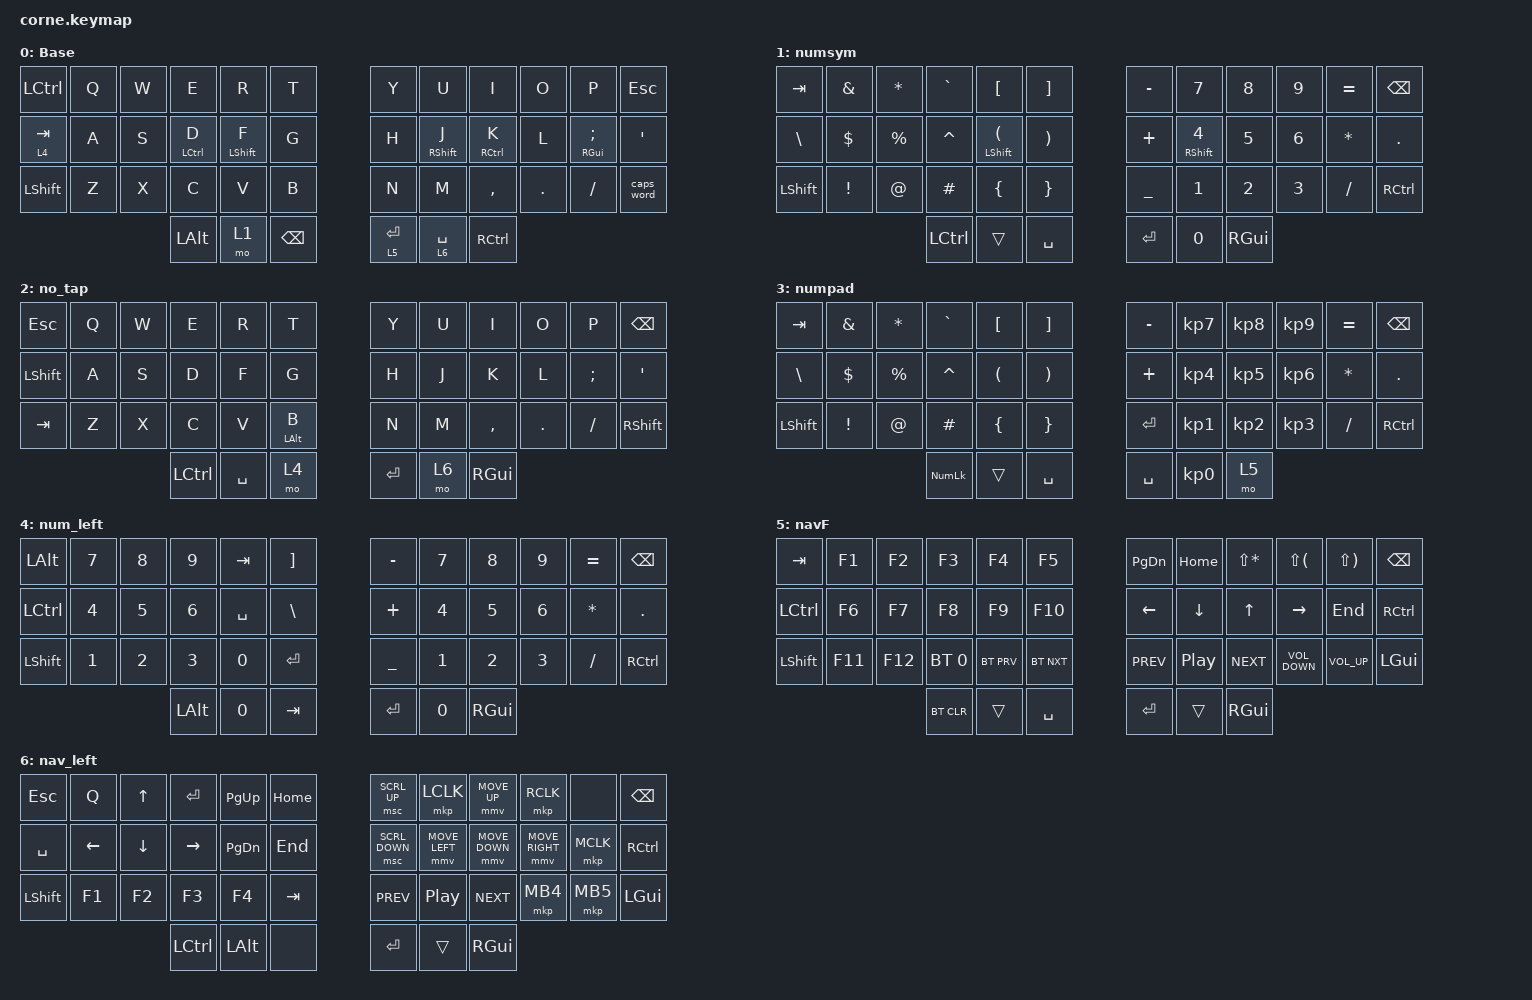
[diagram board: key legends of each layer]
/*
 * Copyright (c) 2020 The ZMK Contributors
 *
 * SPDX-License-Identifier: MIT
 */

#define ZMK_POINTING_DEFAULT_MOVE_VAL 1000

#include <behaviors.dtsi>
#include <dt-bindings/zmk/bt.h>
#include <dt-bindings/zmk/keys.h>
#include <dt-bindings/zmk/pointing.h>
#include <dt-bindings/zmk/pointing.h>
#include <dt-bindings/zmk/pointing.h>

&mt { flavor = "tap-preferred"; };

/ {
    combos {
        compatible = "zmk,combos";

        to_no_tap {
            bindings = <&to 2>;
            key-positions = <36 37 38>;
            layers = <0>;
        };

        back_to_base {
            bindings = <&to 0>;
            key-positions = <36 37 38>;
            layers = <2>;
        };

        delete {
            bindings = <&kp DEL>;
            key-positions = <10 11>;
        };

        copy {
            bindings = <&kp LC(C)>;
            key-positions = <27 28>;
        };

        paste {
            bindings = <&kp LC(V)>;
            key-positions = <28 29>;
        };

        cut {
            bindings = <&kp LC(X)>;
            key-positions = <26 27>;
        };

        capsword {
            bindings = <&caps_word>;
            key-positions = <16 19>;
        };

        to_numpad {
            bindings = <&to 3>;
            key-positions = <39 40 41>;
            layers = <0>;
        };

        np_to_base {
            bindings = <&to 0>;
            key-positions = <39 40 41>;
            layers = <3>;
        };

        jk_esc {
            bindings = <&kp ESC>;
            key-positions = <19 20>;
        };

        left_escape {
            bindings = <&kp ESC>;
            key-positions = <0 1>;
        };

        tab_nav {
            bindings = <&kp LC(TAB)>;
            key-positions = <4 5>;
        };
    };

    keymap {
        compatible = "zmk,keymap";

        default_layer {
            // -----------------------------------------------------------------------------------------
            // |  TAB |  Q  |  W  |  E  |  R  |  T  |   |  Y  |  U   |  I  |  O  |  P  | BKSP |
            // | CTRL |  A  |  S  |  D  |  F  |  G  |   |  H  |  J   |  K  |  L  |  ;  |  '   |
            // | SHFT |  Z  |  X  |  C  |  V  |  B  |   |  N  |  M   |  ,  |  .  |  /  | ESC  |
            //                    | GUI | LWR | SPC |   | ENT | RSE  | ALT |

            display-name = "Base";
            bindings = <
&kp LCTRL       &kp Q  &kp W  &kp E        &kp R         &kp T            &kp Y        &kp U         &kp I        &kp O    &kp P          &kp ESC
&lt 4 TAB       &kp A  &kp S  &mt LCTRL D  &mt LSHIFT F  &kp G            &kp H        &mt RSHIFT J  &mt RCTRL K  &kp L    &mt RGUI SEMI  &kp SQT
&kp LEFT_SHIFT  &kp Z  &kp X  &kp C        &kp V         &kp B            &kp N        &kp M         &kp COMMA    &kp DOT  &kp FSLH       &caps_word
                              &kp LALT     &mo 1         &kp BACKSPACE    &lt 5 ENTER  &lt 6 SPACE   &kp RCTRL
            >;
        };

        numsym {
            // -----------------------------------------------------------------------------------------
            // |  TAB |  1  |  2  |  3  |  4  |  5  |   |  6  |  7  |  8  |  9  |  0  | BKSP |
            // | BTCLR| BT1 | BT2 | BT3 | BT4 | BT5 |   | LFT | DWN |  UP | RGT |     |      |
            // | SHFT |     |     |     |     |     |   |     |     |     |     |     |      |
            //                    | GUI |     | SPC |   | ENT |     | ALT |

            display-name = "numsym";
            bindings = <
&kp TAB         &kp AMPS    &kp STAR     &kp GRAVE  &kp LBKT                         &kp RBKT                 &kp MINUS  &kp N7              &kp N8    &kp N9  &kp EQUAL  &kp BSPC
&kp BSLH        &kp DOLLAR  &kp PERCENT  &kp CARET  &mt LEFT_SHIFT LEFT_PARENTHESIS  &kp RIGHT_PARENTHESIS    &kp PLUS   &mt RIGHT_SHIFT N4  &kp N5    &kp N6  &kp STAR   &kp DOT
&kp LEFT_SHIFT  &kp EXCL    &kp AT       &kp POUND  &kp LEFT_BRACE                   &kp RIGHT_BRACE          &kp UNDER  &kp N1              &kp N2    &kp N3  &kp FSLH   &kp RCTRL
                                         &kp LCTRL  &trans                           &kp SPACE                &kp RET    &kp N0              &kp RGUI
            >;
        };

        no_tap {
            bindings = <
&kp ESC         &kp Q  &kp W  &kp E      &kp R      &kp T             &kp Y      &kp U  &kp I      &kp O    &kp P     &kp BACKSPACE
&kp LEFT_SHIFT  &kp A  &kp S  &kp D      &kp F      &kp G             &kp H      &kp J  &kp K      &kp L    &kp SEMI  &kp SQT
&kp TAB         &kp Z  &kp X  &kp C      &kp V      &mt LEFT_ALT B    &kp N      &kp M  &kp COMMA  &kp DOT  &kp FSLH  &kp RSHFT
                              &kp LCTRL  &kp SPACE  &mo 4             &kp ENTER  &mo 6  &kp RGUI
            >;

            label = "no_tap";
        };

        numpad {
            display-name = "numpad";
            bindings = <
&kp TAB         &kp AMPS    &kp STAR     &kp GRAVE       &kp LBKT              &kp RBKT                 &kp MINUS  &kp KP_N7        &kp KP_N8  &kp KP_N9  &kp EQUAL  &kp BSPC
&kp BSLH        &kp DOLLAR  &kp PERCENT  &kp CARET       &kp LEFT_PARENTHESIS  &kp RIGHT_PARENTHESIS    &kp PLUS   &kp KP_N4        &kp KP_N5  &kp KP_N6  &kp STAR   &kp DOT
&kp LEFT_SHIFT  &kp EXCL    &kp AT       &kp POUND       &kp LEFT_BRACE        &kp RIGHT_BRACE          &kp ENTER  &kp KP_N1        &kp KP_N2  &kp KP_N3  &kp FSLH   &kp RCTRL
                                         &kp KP_NUMLOCK  &trans                &kp SPACE                &kp SPACE  &kp KP_NUMBER_0  &mo 5
            >;
        };

        num_left {
            display-name = "num_left";
            bindings = <
&kp LALT        &kp N7  &kp N8  &kp N9        &kp TAB    &kp RBKT         &kp MINUS  &kp N7  &kp N8    &kp N9  &kp EQUAL  &kp BSPC
&kp LCTRL       &kp N4  &kp N5  &kp N6        &kp SPACE  &kp BACKSLASH    &kp PLUS   &kp N4  &kp N5    &kp N6  &kp STAR   &kp DOT
&kp LEFT_SHIFT  &kp N1  &kp N2  &kp N3        &kp N0     &kp ENTER        &kp UNDER  &kp N1  &kp N2    &kp N3  &kp FSLH   &kp RCTRL
                                &kp LEFT_ALT  &kp N0     &kp TAB          &kp RET    &kp N0  &kp RGUI
            >;
        };

        navF {
            // -----------------------------------------------------------------------------------------
            // |  TAB |  !  |  @  |  #  |  $  |  %  |   |  ^  |  &  |  *  |  (  |  )  | BKSP |
            // | CTRL |     |     |     |     |     |   |  -  |  =  |  [  |  ]  |  \  |  `   |
            // | SHFT |     |     |     |     |     |   |  _  |  +  |  {  |  }  | "|" |  ~   |
            //                    | GUI |     | SPC |   | ENT |     | ALT |

            display-name = "navF";
            bindings = <
&kp TAB         &kp F1   &kp F2   &kp F3        &kp F4      &kp F5        &kp PG_DN   &kp HOME          &kp LS(STAR)  &kp LS(LPAR)       &kp LS(RPAR)     &kp BSPC
&kp LCTRL       &kp F6   &kp F7   &kp F8        &kp F9      &kp F10       &kp LEFT    &kp DOWN          &kp UP        &kp RIGHT          &kp END          &kp RCTRL
&kp LEFT_SHIFT  &kp F11  &kp F12  &bt BT_SEL 0  &bt BT_PRV  &bt BT_NXT    &kp C_PREV  &kp C_PLAY_PAUSE  &kp C_NEXT    &kp C_VOLUME_DOWN  &kp C_VOLUME_UP  &kp LEFT_GUI
                                  &bt BT_CLR    &trans      &kp SPACE     &kp RET     &trans            &kp RGUI
            >;
        };

        nav_left {
            display-name = "nav_left";
            bindings = <
&kp ESC    &kp Q     &kp UP    &kp ENTER  &kp PG_UP      &kp HOME    &msc SCRL_UP    &mkp LCLK         &mmv MOVE_UP    &mkp RCLK        &none      &kp BSPC
&kp SPACE  &kp LEFT  &kp DOWN  &kp RIGHT  &kp PAGE_DOWN  &kp END     &msc SCRL_DOWN  &mmv MOVE_LEFT    &mmv MOVE_DOWN  &mmv MOVE_RIGHT  &mkp MCLK  &kp RCTRL
&kp LSHFT  &kp F1    &kp F2    &kp F3     &kp F4         &kp TAB     &kp C_PREV      &kp C_PLAY_PAUSE  &kp C_NEXT      &mkp MB4         &mkp MB5   &kp LEFT_GUI
                               &kp LCTRL  &kp LALT       &none       &kp RET         &trans            &kp RGUI
            >;
        };
    };
};
